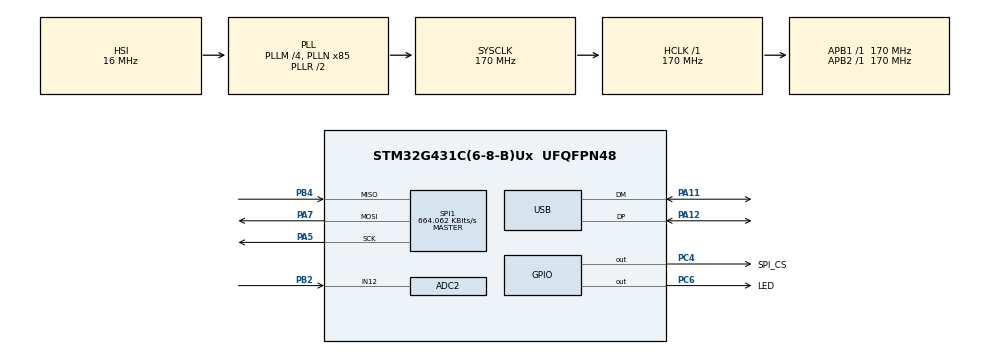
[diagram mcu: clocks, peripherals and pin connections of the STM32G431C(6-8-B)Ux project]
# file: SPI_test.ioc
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ADC2.Channel-0\#ChannelRegularConversion=ADC_CHANNEL_12
ADC2.ContinuousConvMode=ENABLE
ADC2.DMAContinuousRequests=ENABLE
ADC2.NbrOfConversionFlag=1
ADC2.OffsetNumber-0\#ChannelRegularConversion=ADC_OFFSET_NONE
ADC2.Rank-0\#ChannelRegularConversion=1
ADC2.SamplingTime-0\#ChannelRegularConversion=ADC_SAMPLETIME_640CYCLES_5
Dma.ADC2.0.Direction=DMA_PERIPH_TO_MEMORY
Dma.ADC2.0.EventEnable=DISABLE
Dma.ADC2.0.Instance=DMA1_Channel1
Dma.ADC2.0.MemDataAlignment=DMA_MDATAALIGN_HALFWORD
Dma.ADC2.0.MemInc=DMA_MINC_ENABLE
Dma.ADC2.0.Mode=DMA_CIRCULAR
Dma.ADC2.0.PeriphDataAlignment=DMA_PDATAALIGN_HALFWORD
Dma.ADC2.0.PeriphInc=DMA_PINC_DISABLE
Dma.ADC2.0.Polarity=HAL_DMAMUX_REQ_GEN_RISING
Dma.ADC2.0.Priority=DMA_PRIORITY_LOW
Dma.ADC2.0.RequestNumber=1
Dma.ADC2.0.SignalID=NONE
Dma.ADC2.0.SyncEnable=DISABLE
Dma.ADC2.0.SyncPolarity=HAL_DMAMUX_SYNC_NO_EVENT
Dma.ADC2.0.SyncRequestNumber=1
Dma.ADC2.0.SyncSignalID=NONE
Dma.Request0=ADC2
FREERTOS.Tasks01=defaultTask,0,128,StartDefaultTask,Default,NULL,Dynamic,NULL,NULL
Mcu.Family=STM32G4
Mcu.Name=STM32G431C(6-8-B)Ux
Mcu.Package=UFQFPN48
NVIC.DMA1_Channel1_IRQn=true\:5\:0\:false\:false\:true\:true\:false\:true\:true
NVIC.PriorityGroup=NVIC_PRIORITYGROUP_4
NVIC.TIM1_TRG_COM_TIM17_IRQn=true\:15\:0\:false\:false\:true\:false\:false\:true\:true
NVIC.TimeBase=TIM1_TRG_COM_TIM17_IRQn
NVIC.TimeBaseIP=TIM17
NVIC.USB_LP_IRQn=true\:5\:0\:false\:false\:true\:true\:false\:true\:true
PA11.Mode=Device
PA11.Signal=USB_DM
PA12.Mode=Device
PA12.Signal=USB_DP
PA13.Mode=Serial_Wire
PA13.Signal=SYS_JTMS-SWDIO
PA14.Mode=Serial_Wire
PA14.Signal=SYS_JTCK-SWCLK
PA5.Mode=Full_Duplex_Master
PA5.Signal=SPI1_SCK
PA7.Mode=Full_Duplex_Master
PA7.Signal=SPI1_MOSI
PB2.Mode=IN12-Single-Ended
PB2.Signal=ADC2_IN12
PB4.Mode=Full_Duplex_Master
PB4.Signal=SPI1_MISO
PC4.GPIO_Label=SPI_CS
PC4.GPIO_PuPd=GPIO_PULLDOWN
PC4.GPIO_Speed=GPIO_SPEED_FREQ_VERY_HIGH
PC4.PinState=GPIO_PIN_SET
PC4.Signal=GPIO_Output
PC6.GPIO_Label=LED
PC6.GPIO_PuPd=GPIO_PULLDOWN
PC6.GPIO_Speed=GPIO_SPEED_FREQ_LOW
PC6.PinState=GPIO_PIN_RESET
PC6.Signal=GPIO_Output
PF0-OSC_IN.Mode=HSE-External-Oscillator
PF0-OSC_IN.Signal=RCC_OSC_IN
PF1-OSC_OUT.Mode=HSE-External-Oscillator
PF1-OSC_OUT.Signal=RCC_OSC_OUT
ProjectManager.HeapSize=0xA00
ProjectManager.StackSize=0x100
ProjectManager.TargetToolchain=MDK-ARM V5.32
RCC.ADC12Freq_Value=170000000
RCC.AHBFreq_Value=170000000
RCC.APB1Freq_Value=170000000
RCC.APB1TimFreq_Value=170000000
RCC.APB2Freq_Value=170000000
RCC.APB2TimFreq_Value=170000000
RCC.CK48CLockSelection=RCC_USBCLKSOURCE_HSI48
RCC.CortexFreq_Value=170000000
RCC.EXTERNAL_CLOCK_VALUE=12288000
RCC.HCLKFreq_Value=170000000
RCC.HSE_VALUE=8000000
RCC.HSI48_VALUE=48000000
RCC.HSI_VALUE=16000000
RCC.LSE_VALUE=32768
RCC.PLLM=RCC_PLLM_DIV4
RCC.PLLN=85
RCC.SYSCLKFreq_VALUE=170000000
RCC.SYSCLKSource=RCC_SYSCLKSOURCE_PLLCLK
RCC.USBFreq_Value=48000000
RCC.VCOOutputFreq_Value=340000000
SPI1.BaudRatePrescaler=SPI_BAUDRATEPRESCALER_256
SPI1.CalculateBaudRate=664.062 KBits/s
SPI1.DataSize=SPI_DATASIZE_8BIT
SPI1.Direction=SPI_DIRECTION_2LINES
SPI1.Mode=SPI_MODE_MASTER
SPI1.VirtualType=VM_MASTER
USB_DEVICE.CLASS_NAME_FS=CDC
USB_DEVICE.VirtualMode=Cdc
USB_DEVICE.VirtualModeFS=Cdc_FS
VP_FREERTOS_VS_CMSIS_V1.Mode=CMSIS_V1
VP_SYS_VS_DBSignals.Mode=DisableDeadBatterySignals
VP_SYS_VS_tim17.Mode=TIM17
VP_USB_DEVICE_VS_USB_DEVICE_CDC_FS.Mode=CDC_FS
board=custom

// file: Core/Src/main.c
/* USER CODE BEGIN Header */
/**
  ******************************************************************************
  * @file           : main.c
  * @brief          : Main program body
  ******************************************************************************
  * @attention
  *
  * Copyright (c) 2025 STMicroelectronics.
  * All rights reserved.
  *
  * This software is licensed under terms that can be found in the LICENSE file
  * in the root directory of this software component.
  * If no LICENSE file comes with this software, it is provided AS-IS.
  *
  ******************************************************************************
  */
/* USER CODE END Header */
#include "main.h"
#include "cmsis_os.h"
#include "adc.h"
#include "dma.h"
#include "spi.h"
#include "usb_device.h"
#include "gpio.h"

void SystemClock_Config(void);
void MX_FREERTOS_Init(void);

int main(void)
{

  /* MCU Configuration--------------------------------------------------------*/

  /* Reset of all peripherals, Initializes the Flash interface and the Systick. */
  HAL_Init();

  /* Configure the system clock */
  SystemClock_Config();

  /* Initialize all configured peripherals */
  MX_GPIO_Init();
  MX_DMA_Init();
  MX_USB_Device_Init();
  MX_ADC2_Init();
  MX_SPI1_Init();

  /* Call init function for freertos objects (in freertos.c) */
  MX_FREERTOS_Init();

  /* Start scheduler */
  osKernelStart();

  /* We should never get here as control is now taken by the scheduler */
  /* Infinite loop */
  while (1)
  {

  }
}

void SystemClock_Config(void)
{
  RCC_OscInitTypeDef RCC_OscInitStruct = {0};
  RCC_ClkInitTypeDef RCC_ClkInitStruct = {0};

  /** Configure the main internal regulator output voltage
  */
  HAL_PWREx_ControlVoltageScaling(PWR_REGULATOR_VOLTAGE_SCALE1_BOOST);

  /** Initializes the RCC Oscillators according to the specified parameters
  * in the RCC_OscInitTypeDef structure.
  */
  RCC_OscInitStruct.OscillatorType = RCC_OSCILLATORTYPE_HSI|RCC_OSCILLATORTYPE_HSI48;
  RCC_OscInitStruct.HSIState = RCC_HSI_ON;
  RCC_OscInitStruct.HSICalibrationValue = RCC_HSICALIBRATION_DEFAULT;
  RCC_OscInitStruct.HSI48State = RCC_HSI48_ON;
  RCC_OscInitStruct.PLL.PLLState = RCC_PLL_ON;
  RCC_OscInitStruct.PLL.PLLSource = RCC_PLLSOURCE_HSI;
  RCC_OscInitStruct.PLL.PLLM = RCC_PLLM_DIV4;
  RCC_OscInitStruct.PLL.PLLN = 85;
  RCC_OscInitStruct.PLL.PLLP = RCC_PLLP_DIV2;
  RCC_OscInitStruct.PLL.PLLQ = RCC_PLLQ_DIV2;
  RCC_OscInitStruct.PLL.PLLR = RCC_PLLR_DIV2;
  if (HAL_RCC_OscConfig(&RCC_OscInitStruct) != HAL_OK)
  {
    Error_Handler();
  }

  /** Initializes the CPU, AHB and APB buses clocks
  */
  RCC_ClkInitStruct.ClockType = RCC_CLOCKTYPE_HCLK|RCC_CLOCKTYPE_SYSCLK
                              |RCC_CLOCKTYPE_PCLK1|RCC_CLOCKTYPE_PCLK2;
  RCC_ClkInitStruct.SYSCLKSource = RCC_SYSCLKSOURCE_PLLCLK;
  RCC_ClkInitStruct.AHBCLKDivider = RCC_SYSCLK_DIV1;
  RCC_ClkInitStruct.APB1CLKDivider = RCC_HCLK_DIV1;
  RCC_ClkInitStruct.APB2CLKDivider = RCC_HCLK_DIV1;

  if (HAL_RCC_ClockConfig(&RCC_ClkInitStruct, FLASH_LATENCY_4) != HAL_OK)
  {
    Error_Handler();
  }
}

void HAL_TIM_PeriodElapsedCallback(TIM_HandleTypeDef *htim)
{
  if (htim->Instance == TIM17) {
    HAL_IncTick();
  }
}

void Error_Handler(void)
{
  __disable_irq();
  while (1)
  {
  }
}

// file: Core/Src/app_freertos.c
/* USER CODE BEGIN Header */
/**
  ******************************************************************************
  * File Name          : app_freertos.c
  * Description        : Code for freertos applications
  ******************************************************************************
  * @attention
  *
  * Copyright (c) 2025 STMicroelectronics.
  * All rights reserved.
  *
  * This software is licensed under terms that can be found in the LICENSE file
  * in the root directory of this software component.
  * If no LICENSE file comes with this software, it is provided AS-IS.
  *
  ******************************************************************************
  */
/* USER CODE END Header */

#include "FreeRTOS.h"
#include "task.h"
#include "main.h"
#include "cmsis_os.h"

osThreadId defaultTaskHandle;

/* USER CODE BEGIN FunctionPrototypes */

// 设置AD5206的电阻值
// index: 0 1
// channel: 0~5
// resistance: 0~255
void AD5206_SetResistance(uint8_t index, uint8_t channel, uint8_t resistance) {
		uint8_t spi_data[2]={0x00,10};

    // 确保通道和电阻值在有效范围内
    if (channel > 5) return; // AD5206有6个通道，通道号从0到5
    if (resistance > 255) return; // 电阻值应在0到255之间
		if (index!=0 && index!=1) return;

		if(index==0)
			HAL_GPIO_WritePin(SPI_CS_GPIO_Port,SPI_CS_Pin,0);
//		else if(index==1)
//			HAL_GPIO_WritePin(CS2_GPIO_Port,CS2_Pin,0);

		spi_data[0]=channel;
		spi_data[1]=resistance;

		HAL_SPI_Transmit(&hspi1,spi_data,2,0xffff);

		spi_data[0] = ~spi_data[0];
		spi_data[1] = ~spi_data[1];
		HAL_SPI_Transmit(&hspi1,spi_data,2,0xffff);
    if(index==0)
		HAL_GPIO_WritePin(SPI_CS_GPIO_Port,SPI_CS_Pin,1);
//	else if(index==1)
//		HAL_GPIO_WritePin(CS2_GPIO_Port,CS2_Pin,1);
}

/* USER CODE END FunctionPrototypes */

void StartDefaultTask(void const * argument);

void MX_FREERTOS_Init(void); /* (MISRA C 2004 rule 8.1) */

void MX_FREERTOS_Init(void) {

  /* Create the thread(s) */
  /* definition and creation of defaultTask */
  osThreadDef(defaultTask, StartDefaultTask, osPriorityNormal, 0, 128);
  defaultTaskHandle = osThreadCreate(osThread(defaultTask), NULL);

}

/* USER CODE BEGIN Header_StartDefaultTask */
/**
  * @brief  Function implementing the defaultTask thread.
  * @param  argument: Not used
  * @retval None
  */
uint16_t adc_value[10];
/* USER CODE END Header_StartDefaultTask */
void StartDefaultTask(void const * argument)
{
  /* USER CODE BEGIN StartDefaultTask */
	char usb_buff[128]={0};
	HAL_ADC_Start_DMA(&hadc2, (uint32_t *)adc_value, 10);
  /* Infinite loop */
	for(;;)
	{
		AD5206_SetResistance(0,3,10);
		HAL_GPIO_TogglePin(LED_GPIO_Port,LED_Pin);
		sprintf(usb_buff,"PB2 adc_value:%d\r\n",adc_value[0]);
		CDC_Transmit_FS((uint8_t *)usb_buff,strlen(usb_buff));
		osDelay(1);
	}
  /* USER CODE END StartDefaultTask */
}
